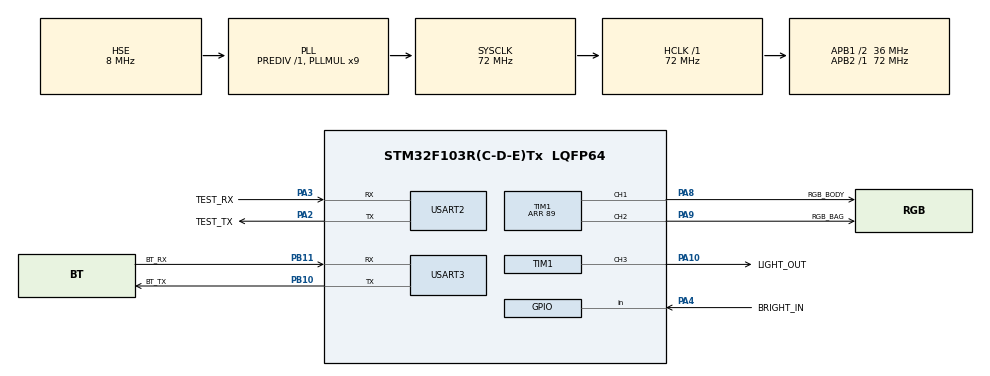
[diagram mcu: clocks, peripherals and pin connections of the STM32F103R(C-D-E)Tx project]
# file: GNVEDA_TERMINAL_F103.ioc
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Dma.Request0=TIM1_CH1
Dma.Request1=TIM1_CH2
Dma.Request2=TIM1_CH3
Dma.TIM1_CH1.0.Direction=DMA_MEMORY_TO_PERIPH
Dma.TIM1_CH1.0.Instance=DMA1_Channel2
Dma.TIM1_CH1.0.MemDataAlignment=DMA_MDATAALIGN_HALFWORD
Dma.TIM1_CH1.0.MemInc=DMA_MINC_ENABLE
Dma.TIM1_CH1.0.Mode=DMA_CIRCULAR
Dma.TIM1_CH1.0.PeriphDataAlignment=DMA_PDATAALIGN_HALFWORD
Dma.TIM1_CH1.0.PeriphInc=DMA_PINC_DISABLE
Dma.TIM1_CH1.0.Priority=DMA_PRIORITY_LOW
Dma.TIM1_CH2.1.Direction=DMA_MEMORY_TO_PERIPH
Dma.TIM1_CH2.1.Instance=DMA1_Channel3
Dma.TIM1_CH2.1.MemDataAlignment=DMA_MDATAALIGN_HALFWORD
Dma.TIM1_CH2.1.MemInc=DMA_MINC_ENABLE
Dma.TIM1_CH2.1.Mode=DMA_CIRCULAR
Dma.TIM1_CH2.1.PeriphDataAlignment=DMA_PDATAALIGN_HALFWORD
Dma.TIM1_CH2.1.PeriphInc=DMA_PINC_DISABLE
Dma.TIM1_CH2.1.Priority=DMA_PRIORITY_LOW
Dma.TIM1_CH3.2.Direction=DMA_MEMORY_TO_PERIPH
Dma.TIM1_CH3.2.Instance=DMA1_Channel6
Dma.TIM1_CH3.2.MemDataAlignment=DMA_MDATAALIGN_HALFWORD
Dma.TIM1_CH3.2.MemInc=DMA_MINC_ENABLE
Dma.TIM1_CH3.2.Mode=DMA_CIRCULAR
Dma.TIM1_CH3.2.PeriphDataAlignment=DMA_PDATAALIGN_HALFWORD
Dma.TIM1_CH3.2.PeriphInc=DMA_PINC_DISABLE
Dma.TIM1_CH3.2.Priority=DMA_PRIORITY_LOW
Mcu.Family=STM32F1
Mcu.Name=STM32F103R(C-D-E)Tx
Mcu.Package=LQFP64
NVIC.DMA1_Channel2_IRQn=true\:0\:0\:false\:false\:true\:true\:false\:true\:true
NVIC.DMA1_Channel3_IRQn=true\:0\:0\:false\:false\:true\:true\:false\:true\:true
NVIC.DMA1_Channel6_IRQn=true\:0\:0\:false\:false\:true\:true\:false\:true\:true
NVIC.PriorityGroup=NVIC_PRIORITYGROUP_4
NVIC.TIM3_IRQn=true\:15\:0\:false\:false\:true\:false\:false\:true\:true
NVIC.TimeBase=TIM3_IRQn
NVIC.TimeBaseIP=TIM3
NVIC.USART3_IRQn=true\:0\:0\:false\:false\:true\:false\:true\:true\:true
PA10.GPIO_Label=LIGHT_OUT
PA10.Signal=S_TIM1_CH3
PA13.Mode=Serial_Wire
PA13.Signal=SYS_JTMS-SWDIO
PA14.Mode=Serial_Wire
PA14.Signal=SYS_JTCK-SWCLK
PA2.GPIO_Label=TEST_TX
PA2.Mode=Asynchronous
PA2.Signal=USART2_TX
PA3.GPIO_Label=TEST_RX
PA3.Mode=Asynchronous
PA3.Signal=USART2_RX
PA4.GPIO_Label=BRIGHT_IN
PA4.Signal=GPIO_Input
PA8.GPIO_Label=RGB_BODY
PA8.Signal=S_TIM1_CH1
PA9.GPIO_Label=RGB_BAG
PA9.Signal=S_TIM1_CH2
PB10.GPIO_Label=BT_TX
PB10.Mode=Asynchronous
PB10.Signal=USART3_TX
PB11.GPIO_Label=BT_RX
PB11.Mode=Asynchronous
PB11.Signal=USART3_RX
PD0-OSC_IN.Mode=HSE-External-Oscillator
PD0-OSC_IN.Signal=RCC_OSC_IN
PD1-OSC_OUT.Mode=HSE-External-Oscillator
PD1-OSC_OUT.Signal=RCC_OSC_OUT
ProjectManager.HeapSize=0x200
ProjectManager.StackSize=0x400
ProjectManager.TargetToolchain=MDK-ARM V5.32
RCC.AHBFreq_Value=72000000
RCC.APB1CLKDivider=RCC_HCLK_DIV2
RCC.APB1Freq_Value=36000000
RCC.APB1TimFreq_Value=72000000
RCC.APB2Freq_Value=72000000
RCC.APB2TimFreq_Value=72000000
RCC.HCLKFreq_Value=72000000
RCC.PLLMUL=RCC_PLL_MUL9
RCC.PLLSourceVirtual=RCC_PLLSOURCE_HSE
RCC.SYSCLKFreq_VALUE=72000000
RCC.SYSCLKSource=RCC_SYSCLKSOURCE_PLLCLK
RCC.USBFreq_Value=72000000
RealThread.RT-Thread.3.1.5.RTOSJjkernel=true
RealThread.RT-Thread.3.1.5.RTOSJjshell=true
SH.S_TIM1_CH1.0=TIM1_CH1,PWM Generation1 CH1
SH.S_TIM1_CH2.0=TIM1_CH2,PWM Generation2 CH2
SH.S_TIM1_CH3.0=TIM1_CH3,PWM Generation3 CH3
TIM1.Channel-PWM\ Generation1\ CH1=TIM_CHANNEL_1
TIM1.Channel-PWM\ Generation2\ CH2=TIM_CHANNEL_2
TIM1.Channel-PWM\ Generation3\ CH3=TIM_CHANNEL_3
TIM1.Period=89
USART2.VirtualMode=VM_ASYNC
USART3.VirtualMode=VM_ASYNC
VP_RealThread.RT-Thread_VS_RTOSJjkernel_3.1.5_3.1.5.Mode=RTOSJjkernel
VP_RealThread.RT-Thread_VS_RTOSJjshell_3.1.5_3.1.5.Mode=RTOSJjshell
VP_SYS_VS_tim3.Mode=TIM3
board=custom

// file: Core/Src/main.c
/* USER CODE BEGIN Header */
/**
 ******************************************************************************
 * @file           : main.c
 * @brief          : Main program body
 ******************************************************************************
 * @attention
 *
 * Copyright (c) 2024 STMicroelectronics.
 * All rights reserved.
 *
 * This software is licensed under terms that can be found in the LICENSE file
 * in the root directory of this software component.
 * If no LICENSE file comes with this software, it is provided AS-IS.
 *
 ******************************************************************************
 */
/* USER CODE END Header */
#include "main.h"
#include "dma.h"
#include "tim.h"
#include "usart.h"
#include "gpio.h"

/* USER CODE BEGIN Includes */
#include <rtthread.h>
#include "RGB.h"
#include "easyflash.h"
#include "string.h"
#include "stdlib.h"
#include "stdio.h"
#include "gn_controller.h"
#include "jsonUtil.h"
/* USER CODE END Includes */

/* USER CODE BEGIN PD */
#define BUFFER_SIZE 250
/* USER CODE END PD */

/* USER CODE BEGIN PV */
RGB_LED rgb_test;
STATE standby, day, night, temp; // 基础三个状态
STATE *current;                  // 当前状态
bool temp_enable = 0;
char usart3_c;
int usart3_rx_index;
char usart3_rx_buffer[BUFFER_SIZE];
int mode_id = 6;
int gn_mode_id = 0;
int command_able = 0;
uint32_t temp_color_1, temp_color_2;
rt_thread_t processJsonThread;
/* USER CODE END PV */

void SystemClock_Config(void);

/* USER CODE BEGIN 0 */
uint32_t color;
/* USER CODE END 0 */

int main(void)
{

  /* MCU Configuration--------------------------------------------------------*/

  /* Reset of all peripherals, Initializes the Flash interface and the Systick. */
  HAL_Init();

  /* Configure the system clock */
  SystemClock_Config();

  /* USER CODE BEGIN SysInit */
  RGB_LED_Init(&rgb_test, 10, &htim1, TIM_CHANNEL_1);
  /* USER CODE END SysInit */

  /* Initialize all configured peripherals */
  MX_GPIO_Init();
  MX_DMA_Init();
  MX_TIM1_Init();
  MX_USART2_UART_Init();
  MX_USART3_UART_Init();
  /* USER CODE BEGIN 2 */
  if (easyflash_init() == EF_NO_ERR) // Initialization Data Succeed
  {
    rt_kprintf("easyflash初始化成功!\n");
    data_init();
    //  uint32_t color1 = 0x00FF00;
    //  uint32_t color2 = 0xFFFFFF;
    //  rt_kprintf("要保存的数据:\n");
    //  print_hex_data(color1);
    //  rt_kprintf("\n");
    //  EfErrCode result = ef_set_env_blob("wavy_color_1", &color1,4);
    //  if (result == EF_NO_ERR)
    //  {
    //    rt_kprintf("数据1保存成功!\n");

    //   result = ef_set_env_blob("wavy_color_2", &color2,4);
    //   if (result == EF_NO_ERR)
    //   {
    //     rt_kprintf("数据2保存成功!\n");
    //   }
    // }
    // else
    // {
    //   rt_kprintf("数据保存失败!错误:%d\n", result);
    // }
  }

  HAL_UART_Receive_IT(&huart3, (uint8_t *)&usart3_c, 1);

  rt_thread_t rgb_task_tid = rt_thread_create("rgb_demo", /* ???? */
                                              rgb_task, RT_NULL,
                                              1024, 3, 10); //
  if (rgb_task_tid != RT_NULL)
  {
    rt_thread_startup(rgb_task_tid);
    rt_kprintf("rgb thread is already started\n");
  }
  else
  {
    rt_kprintf("rgb thread is not started\n");
  }
  processJsonThread = rt_thread_create("commandParsing", commandParsingTask, RT_NULL, 7216, 4, 10);
  if (processJsonThread != RT_NULL)
  {
    rt_thread_startup(processJsonThread);
  }

  // rt_thread_t light_task_tid = rt_thread_create("light_task_tid", /* ???? */
  //                                               light_detect, RT_NULL,
  //                                               512, 3, 10); //
  // if (light_task_tid != RT_NULL)
  // {
  //   rt_thread_startup(light_task_tid);
  //   rt_kprintf("light thread is already started\n");
  // }
  // else
  // {
  //   rt_kprintf("light thread is not started\n");
  // }
  // rt_thread_t temp_task_tid = rt_thread_create("temp_task_tid", /* ???? */
  //                                              temp_control, RT_NULL,
  //                                              512, 3, 10); //

  // if (temp_task_tid != RT_NULL)
  // {
  //   rt_thread_startup(temp_task_tid);
  //   rt_kprintf("temp thread is already started\n");
  // }
  // else
  // {
  //   rt_kprintf("temp thread is not started\n");
  // }

  /* USER CODE END 2 */

  /* Infinite loop */
  while (1)
  {

  }
}

void SystemClock_Config(void)
{
  RCC_OscInitTypeDef RCC_OscInitStruct = {0};
  RCC_ClkInitTypeDef RCC_ClkInitStruct = {0};

  /** Initializes the RCC Oscillators according to the specified parameters
   * in the RCC_OscInitTypeDef structure.
   */
  RCC_OscInitStruct.OscillatorType = RCC_OSCILLATORTYPE_HSE;
  RCC_OscInitStruct.HSEState = RCC_HSE_ON;
  RCC_OscInitStruct.HSEPredivValue = RCC_HSE_PREDIV_DIV1;
  RCC_OscInitStruct.HSIState = RCC_HSI_ON;
  RCC_OscInitStruct.PLL.PLLState = RCC_PLL_ON;
  RCC_OscInitStruct.PLL.PLLSource = RCC_PLLSOURCE_HSE;
  RCC_OscInitStruct.PLL.PLLMUL = RCC_PLL_MUL9;
  if (HAL_RCC_OscConfig(&RCC_OscInitStruct) != HAL_OK)
  {
    Error_Handler();
  }

  /** Initializes the CPU, AHB and APB buses clocks
   */
  RCC_ClkInitStruct.ClockType = RCC_CLOCKTYPE_HCLK | RCC_CLOCKTYPE_SYSCLK | RCC_CLOCKTYPE_PCLK1 | RCC_CLOCKTYPE_PCLK2;
  RCC_ClkInitStruct.SYSCLKSource = RCC_SYSCLKSOURCE_PLLCLK;
  RCC_ClkInitStruct.AHBCLKDivider = RCC_SYSCLK_DIV1;
  RCC_ClkInitStruct.APB1CLKDivider = RCC_HCLK_DIV2;
  RCC_ClkInitStruct.APB2CLKDivider = RCC_HCLK_DIV1;

  if (HAL_RCC_ClockConfig(&RCC_ClkInitStruct, FLASH_LATENCY_2) != HAL_OK)
  {
    Error_Handler();
  }
}

/* USER CODE BEGIN 4 */
void loadStateFromFlash(STATE *state, const char *envName)
{
  if (ef_get_env_blob(envName, state, sizeof(STATE), NULL) == EF_NO_ERR)
  {
    rt_kprintf("结构体读取成功！\n");
  }
  else
  {
    rt_kprintf("结构体读取失败！\n");
  }
}

void printState(const STATE *state)
{
  rt_kprintf("State Name :%s,State ID: %d, Mode ID: %d, GN Mode ID: %d\n", state->state_env, state->state_id, state->mode_id, state->gn_mode_id);
}

void saveStateToFlash(const STATE *state, const char *envName)
{
  if (ef_set_env_blob(envName, state, sizeof(STATE)) == EF_NO_ERR)
  {
    rt_kprintf("结构体保存成功！\n");
  }
  else
  {
    rt_kprintf("结构体保存失败！\n");
  }
}
// 数据初始化
void data_init()
{

  // STATE save_standby = {"standby",1, 0, 0};
  // STATE save_day = {"day",2, 0, 0};
  // STATE save_night = {"night",3, 0, 0};

  // // 保存结构体到 Flash
  // saveStateToFlash(&save_standby, "state_standby");
  // saveStateToFlash(&save_day, "state_day");
  // saveStateToFlash(&save_night, "state_night");
  // // 读取并检测结构体
  // STATE loaded_standby;
  // STATE loaded_day;
  // STATE loaded_night;

  // loadStateFromFlash(&loaded_standby, "state_standby");
  // printState(&loaded_standby);

  // loadStateFromFlash(&loaded_day, "state_day");
  // printState(&loaded_day);

  // loadStateFromFlash(&loaded_night, "state_night");
  // printState(&loaded_night);

  loadStateFromFlash(&standby, "state_standby");
  printState(&standby);

  loadStateFromFlash(&day, "state_day");
  printState(&day);

  loadStateFromFlash(&night, "state_night");
  printState(&night);
}
void light_detect(void *promt)
{
  while (1)
  {
    if (!temp_enable)
    {
      current = &day;
    }
    rt_thread_mdelay(10);
  }
}
// 控制运行状态
void temp_control(void *promt)
{
  int temp_times = 0;
  while (1)
  {
    if (temp_enable)
    {
      current = &temp;
      temp_times++;
      rt_thread_mdelay(1);
    }
    else
    {
      temp = *current;
      temp_times = 0;
      rt_thread_mdelay(100);
    }
  }
}

void print_hex_data(uint32_t value)
{
  char buffer[10];
  snprintf(buffer, sizeof(buffer), "%06X", value);
  rt_kprintf("0x%s\n", buffer);
}

void rgb_task(void *promt)
{
  int times = 0;
  while (1)
  {
    switch (current->mode_id)
    {
    case 1:
    {
      uint32_t chest_color;
      if (temp_enable)
        chest_color = temp_color_1;
      else
      {
        char envName[30]; // 足够长的缓冲区来存储完整的环境变量名称
        snprintf(envName, sizeof(envName), "%s_chest_color", current->state_env);
        ef_get_env_blob(envName, &chest_color, 4, NULL);
      }
      chest_breathing(&rgb_test, chest_color);
      break;
    }
    case 2:
    {
      uint32_t normal_color;
      if (temp_enable)
        normal_color = temp_color_1;
      else
      {
        char envName[30]; // 足够长的缓冲区来存储完整的环境变量名称
        snprintf(envName, sizeof(envName), "%s_normal_color", current->state_env);
        ef_get_env_blob(envName, &normal_color, 4, NULL);
      }
      normal(&rgb_test, normal_color);
      break;
    }
    case 3:
    {
      uint32_t body_color;
      if (temp_enable)
        body_color = temp_color_1;
      else
      {
        char envName[30]; // 足够长的缓冲区来存储完整的环境变量名称
        snprintf(envName, sizeof(envName), "%s_body_color", current->state_env);
        ef_get_env_blob(envName, &body_color, 4, NULL);
      }
      all_body_breathing(&rgb_test, body_color);
      break;
    }
    case 4:
    {
      uint32_t wavy_color_1;
      if (temp_enable)
        wavy_color_1 = temp_color_1;
      else
      {
        char envName[30]; // 足够长的缓冲区来存储完整的环境变量名称
        snprintf(envName, sizeof(envName), "%s_wavy_color_1", current->state_env);
        ef_get_env_blob(envName, &wavy_color_1, 4, NULL);
      }
      wavy_one(&rgb_test, wavy_color_1);
      break;
    }
    case 5:
    {
      uint32_t wavy_color_1;
      uint32_t wavy_color_2;
      if (temp_enable)
      {
        wavy_color_1 = temp_color_1;
        wavy_color_2 = temp_color_2;
      }
      else
      {
        char envName[30]; // 足够长的缓冲区来存储完整的环境变量名称
        snprintf(envName, sizeof(envName), "%s_wavy_color_1", current->state_env);
        ef_get_env_blob(envName, &wavy_color_1, 4, NULL);
        snprintf(envName, sizeof(envName), "%s_wavy_color_2", current->state_env);
        ef_get_env_blob(envName, &wavy_color_2, 4, NULL);
      }
      wavy_two(&rgb_test, wavy_color_1, wavy_color_2);
      break;
    }
    case 6:
    {
      rainbow_RGB(&rgb_test);
      break;
    }
    }
    rt_thread_mdelay(100);
    // if (mode_id == 6){
    //   mode_id = 1;
    // }
    // else mode_id++;
    /* USER CODE BEGIN 3 */
  }
}
// ?????????????
uint32_t color_set;
char color_get[16]; // ??????????????

void setColorToEnv(const char *colors, const char *envName)
{
  rt_kprintf("setColorToEnv\n");
  int parsedItems = sscanf(colors, "[#%6s]", color_get);
  if (parsedItems == 1)
  {
    color_set = (strtol(color_get, NULL, 16));
    rt_kprintf("提取颜色0x%06X完成%s\n", color_set, envName);
    ef_set_env_blob(envName, &color_set, 4);
  }
}

// ?????????
void setDualColorToEnv(const char *colors, const char *envName1, const char *envName2)
{
  rt_kprintf("输入的颜色字符串: %s\n", colors);

  char color_get[7];
  char color_get_2[7];
  int parsedItems = sscanf(colors, "[#%6s, #%6s]", color_get, color_get_2);

  if (parsedItems == 2)
  {
    uint32_t color_set = (strtol(color_get, NULL, 16));
    rt_kprintf("提取颜色0x%06X完成,保存到 %s\n", color_set, envName1);
    ef_set_env_blob(envName1, &color_set, 4);

    color_set = (strtol(color_get_2, NULL, 16));
    rt_kprintf("提取颜色0x%06X完成,保存到 %s\n", color_set, envName2);
    ef_set_env_blob(envName2, &color_set, 4);
  }
  else
  {
    rt_kprintf("解析颜色字符串失败！\n");
  }
}

// ???
void processColor(const Message *message)
{

  switch ((int)message->mode.id)
  {
  case 1:
  {
    setColorToEnv(message->mode.colors, "chest_color");
    break;
  }
  case 2:
    setColorToEnv(message->mode.colors, "normal_color");
    break;
  case 3:
    setColorToEnv(message->mode.colors, "body_color");
    break;
  case 4:
    setColorToEnv(message->mode.colors, "wavy_color_1");
    break;
  case 5:
    setDualColorToEnv(message->mode.colors, "wavy_color_1", "wavy_color_2");
    break;
  default:
    // Handle other cases or do nothing
    break;
  }
}

void commandParsingTask(void *prmt)
{
  while (1)
  {
    // rt_kprintf("识别指令运行中!\n");
    if (command_able == 1)
    {
      rt_kprintf(usart3_rx_buffer);
      int parsedItems;
      int oId;
      char color_get[16];
      char color_get_2[16];
      uint32_t color_set = 0X000000;
      Message message;
      if (strcmp(usart3_rx_buffer, "get") == 0)
      {
        // Create a JSON object
        cJSON *root = cJSON_CreateObject();
        parseInitData(root,current);
        // Convert the JSON object to a string
        char *json_str = cJSON_PrintUnformatted(root);

        // Send the JSON string via USART
        sendData(&huart3, json_str);
        rt_kprintf(json_str);
        free(json_str);
        // Free the JSON string and object
        cJSON_Delete(root);
      }
      else if (parseMessage(usart3_rx_buffer, &message))
      {
        rt_kprintf("Mode Type: %d\n", message.modeType);
        rt_kprintf("Mode ID: %d, Colors: %s\n", message.mode.id, message.mode.colors);
        rt_kprintf("gnMode ID: %d, Colors: %s\n", message.gnMode.id, message.gnMode.colors);
        mode_id = message.mode.id;
        processColor(&message);
      }
      else
      {
        rt_kprintf("Failed to parse the JSON string.\n");
      }
      command_able = 0;
    }
    else
      rt_thread_mdelay(10);
  }
}
void clearUsart()
{
  memset(usart3_rx_buffer, 0, sizeof(usart3_rx_buffer));
  usart3_rx_index = 0;
}

void HAL_UART_RxCpltCallback(UART_HandleTypeDef *huart)
{
  if (huart == &huart3)
  {
    if (usart3_c == '+')
    {
      clearUsart();
    }
    else if (usart3_c == '\n')
    {
      rt_kprintf("收到指令%s\n", usart3_rx_buffer);
      command_able = 1;
    }
    else
    {
      usart3_rx_buffer[usart3_rx_index++] = usart3_c;
    }
    HAL_UART_Receive_IT(&huart3, (uint8_t *)&usart3_c, 1);
  }
}
/* USER CODE END 4 */

void HAL_TIM_PeriodElapsedCallback(TIM_HandleTypeDef *htim)
{
  if (htim->Instance == TIM3)
  {
    HAL_IncTick();
  }
}

void Error_Handler(void)
{
  __disable_irq();
  while (1)
  {
  }
}
